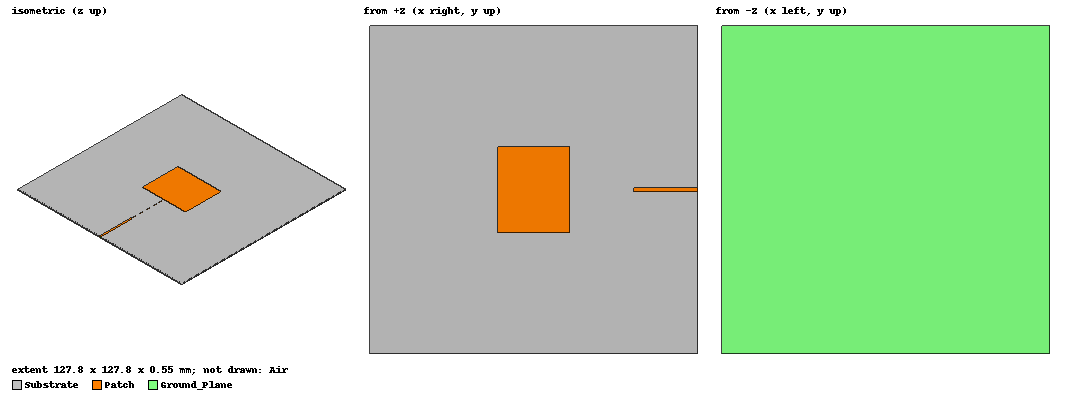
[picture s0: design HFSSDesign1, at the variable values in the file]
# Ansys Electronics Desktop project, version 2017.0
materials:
  vacuum: permittivity=1
  Rogers RO3003 (tm): permittivity=3 dielectric_loss_tangent=0.0013
  Arlon AD300A (tm): permittivity=3 dielectric_loss_tangent=0.002
  CustomDielectric: permittivity=3 dielectric_loss_tangent=0.01
  copper: permeability=0.999991 conductivity=58000000

design HFSSDesign1 (HFSS, DrivenTerminal, model units mm)
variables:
  substrate = L+lambda
  h = 0.5mm
  W = 33.68mm
  L = 27.78mm
  W2 = 0.16184mm
  lambda = 100mm
  W3 = 1.1934mm
  Fr = 3GHz
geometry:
  Substrate [CustomDielectric] = box(corner=(-substrate/2, -substrate/2, 0mm), size=(substrate, substrate, -h))
  Ground_Plane [copper] = rectangle(corner=(-substrate/2, -substrate/2, -h), x_size=substrate, y_size=substrate)
  Patch [copper] = rectangle(corner=(-L/2, -W/2, 0mm), x_size=L, y_size=W)
  QWave_TLine = rectangle(corner=(L/2, -W2/2, 0mm), x_size=lambda/4, y_size=W2)
  Source = rectangle(corner=(L/2+lambda/2, -W3/2, 0), y_size=W3, z_size=-h)
  Air [vacuum] = box(corner=(-substrate/2-lambda/8, -substrate/2-lambda/8, -lambda/4), size=(substrate+lambda/4, substrate+lambda/4, lambda/2))
  50O_TLine = rectangle(corner=(L/2+lambda/4, -W3/2, 0mm), x_size=lambda/4, y_size=W3)
  Patch.unite(50O_TLine)
  Patch.unite(QWave_TLine)
  Patch.thicken(0.05mm)
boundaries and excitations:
  Radiation: Radiation Objects=Air
  Ground: Finite Conductivity Objects=Ground_Plane UseMaterial Material=copper IsInternal
  1: Terminal port=P1 Edges=Patch.edge(at (63.89, 0, 0)) TerminalResistance=50ohm
  P1: Lumped Port Faces=Source.face Impedance=50ohm
  reference conductors: Ground_Plane
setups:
  Setup1: HfssDriven Frequency=3GHz MaxDeltaS=0.02 MaximumPasses=10 MinimumPasses=1 MinimumConvergedPasses=1 PercentRefinement=30 BasisOrder=1 PortAccuracy=2 RayDensityPerWavelength=4 MaxNumberOfBounces=5
    sweep Sweep: 2.5GHz to 3.5GHz step 0.01GHz; Type=Discrete SaveFields
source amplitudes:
  P1:1: 1V 0deg
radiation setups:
  Infinite Sphere1: Infinite Sphere Theta=-180deg..180deg step 10deg Phi=0deg..360deg step 10deg
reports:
  Directivity Phi = 90 deg: dB(DirTotal) vs Theta on Setup1 : LastAdaptive, Infinite Sphere1 [Phi=90deg Freq=3GHz]; markers MX1 at x=0, MY1 at y=4.78
  Directivity Pattern Phi = 90 deg: dB(DirTotal) vs Theta on Setup1 : LastAdaptive, Infinite Sphere1 [Phi=90deg Freq=3GHz]; markers m1 at 0deg
  Gain Pattern Phi = 90 deg: dB(GainTotal) vs Theta on Setup1 : LastAdaptive, Infinite Sphere1 [Phi=90deg Freq=3GHz]; markers m1 at 0deg
  3D Far Field Pattern: dB(rETotal) vs Phi, Theta on Setup1 : LastAdaptive, Infinite Sphere1 [Freq=3GHz]
  S(1,1): dB(St(1,1)) vs Freq on Setup1 : Sweep; markers MY1 at y=-10, MY2 at y=-3
